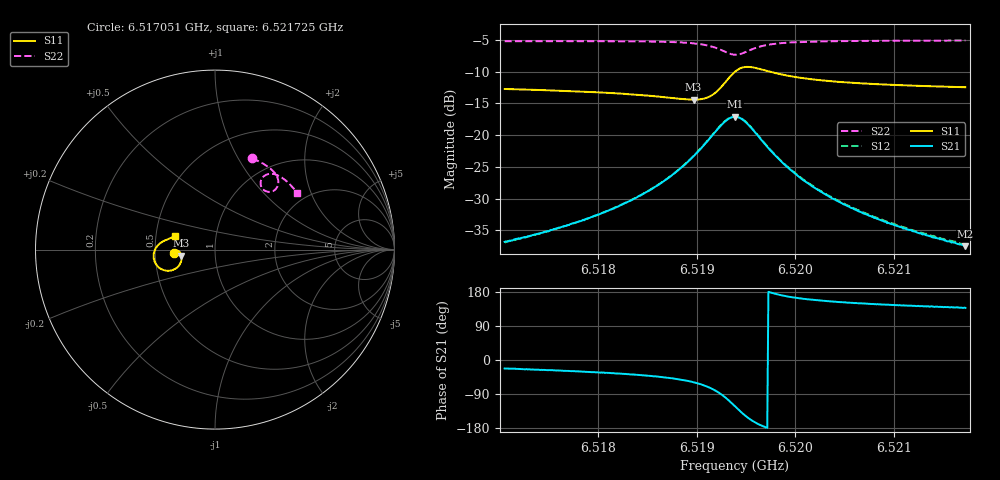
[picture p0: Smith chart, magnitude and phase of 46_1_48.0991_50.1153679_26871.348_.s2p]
#  HZ  S  RI  R  50.00
! Rohde & Schwarz Vector Network Analyzer
! Rohde-Schwarz,ZNB20-2Port,1311601062101988,3.16
! Created: UTC 12/23/2023, 3:39:16 AM
! freq[Hz]  re:S11  im:S11  re:S21  im:S21  re:S12  im:S12  re:S22  im:S22
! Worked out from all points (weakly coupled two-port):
!   401 points, 6.517051 GHz to 6.521725 GHz, reference 50 ohm
!   highest |S21| = -17.11 dB at 6.519388 GHz (marker M1); lowest = -37.5 dB at 6.521725 GHz (marker M2)
!   lowest |S11| = -14.4 dB at 6.518967 GHz (marker M3), VSWR 1.47, Z = 34.2 - j2.45 ohm
!   |S11| at or under -10 dB: start of sweep to 6.519389 GHz; 6.519739 GHz to end of sweep
!   |S22| runs from -7.3 to -5.1 dB; largest |S21 - S12| = 0.0041
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6.5170509e9  -0.2303 -0.0162  0.0134 -0.00553  0.0133 -0.00503  0.2074 0.5079
6.5174132e9  -0.2263 -0.0108  0.0152 -0.00751  0.0153 -0.00689  0.2341 0.4964
6.5178339e9  -0.2202 -0.00609  0.0182 -0.0108  0.0186 -0.0102  0.2653 0.4805
6.5182312e9  -0.2121 -0.00425  0.0227 -0.0167  0.0234 -0.0158  0.295 0.4618
6.5184299e9  -0.2068 -0.00548  0.0257 -0.0216  0.0265 -0.0206  0.3103 0.4501
6.5186169e9  -0.2006 -0.0092  0.0292 -0.0285  0.0303 -0.0277  0.325 0.4363
6.5187922e9  -0.1938 -0.0173  0.033 -0.0393  0.0345 -0.0385  0.3386 0.4194
6.5189675e9  -0.1871 -0.0346  0.0354 -0.0582  0.0373 -0.0574  0.3503 0.3953
6.5190726e9  -0.1863 -0.0535  0.0327 -0.0767  0.0353 -0.0762  0.353 0.3746
6.5191661e9  -0.1939 -0.078  0.0221 -0.099  0.0251 -0.099  0.3479 0.3513
6.5192947e9  -0.2374 -0.1144  -0.0223 -0.1276  -0.0186 -0.1292  0.314 0.3229
6.5193882e9  -0.2958 -0.1103  -0.0743 -0.118  -0.0716 -0.1211  0.2735 0.3307
6.5194466e9  -0.3258 -0.0855  -0.0984 -0.093  -0.0965 -0.0965  0.2571 0.352
6.519505e9  -0.3403 -0.0531  -0.1076 -0.0632  -0.1068 -0.0669  0.2542 0.3767
6.5195985e9  -0.3376 -0.00885  -0.1005 -0.0258  -0.1006 -0.0288  0.2684 0.4053
6.5197037e9  -0.321 0.0207  -0.0828 -0.00305  -0.0835 -0.00555  0.2915 0.4195
6.5199374e9  -0.2885 0.0463  -0.053 0.0122  -0.0538 0.0109  0.3322 0.4199
6.5201711e9  -0.2693 0.055  -0.0369 0.0141  -0.0379 0.0133  0.3593 0.409
6.5205334e9  -0.2521 0.0619  -0.0241 0.0132  -0.025 0.0125  0.3897 0.3884
6.5209541e9  -0.2399 0.0681  -0.0167 0.0114  -0.0173 0.0111  0.4172 0.3636
6.5211995e9  -0.2345 0.0713  -0.014 0.0106  -0.0145 0.0103  0.4309 0.3486
6.5217254e9  -0.225 0.0786  -0.00986 0.00902  -0.0104 0.00897  0.4575 0.3162
